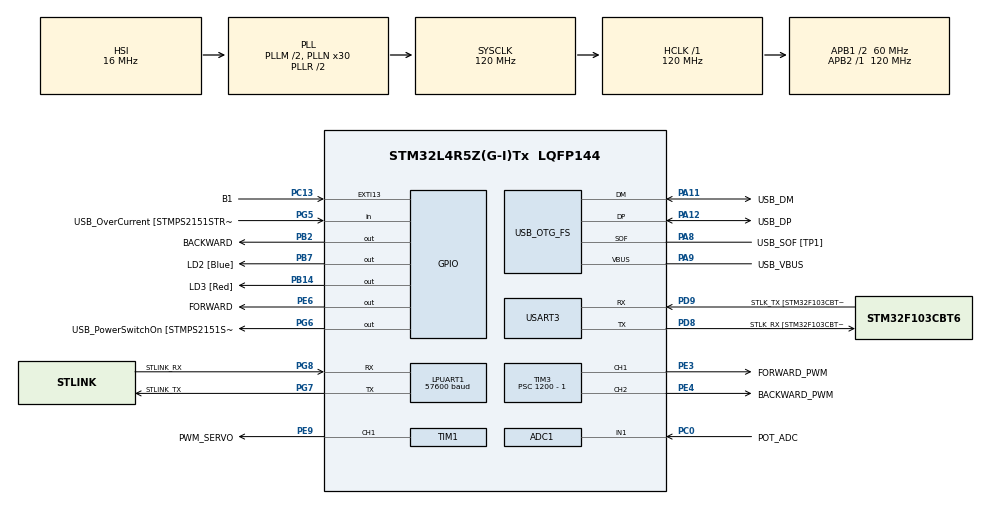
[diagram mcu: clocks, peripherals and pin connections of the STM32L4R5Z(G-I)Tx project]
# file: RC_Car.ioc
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ADC1.Channel-0\#ChannelRegularConversion=ADC_CHANNEL_1
ADC1.NbrOfConversionFlag=1
ADC1.OffsetNumber-0\#ChannelRegularConversion=ADC_OFFSET_NONE
ADC1.Rank-0\#ChannelRegularConversion=1
ADC1.SamplingTime-0\#ChannelRegularConversion=ADC_SAMPLETIME_2CYCLES_5
ADC1.master=1
LPUART1.BaudRate=57600
LPUART1.WordLength=UART_WORDLENGTH_8B
Mcu.Family=STM32L4
Mcu.Name=STM32L4R5Z(G-I)Tx
Mcu.Package=LQFP144
NVIC.PriorityGroup=NVIC_PRIORITYGROUP_4
PA10.GPIO_Label=USB_ID
PA10.Signal=USB_OTG_FS_ID
PA11.GPIO_Label=USB_DM
PA11.Mode=Device_Only
PA11.Signal=USB_OTG_FS_DM
PA12.GPIO_Label=USB_DP
PA12.Mode=Device_Only
PA12.Signal=USB_OTG_FS_DP
PA13\ (JTMS/SWDIO).GPIO_Label=TMS
PA13\ (JTMS/SWDIO).Mode=Trace_Asynchronous_SW
PA13\ (JTMS/SWDIO).Signal=SYS_JTMS-SWDIO
PA14\ (JTCK/SWCLK).GPIO_Label=TCK
PA14\ (JTCK/SWCLK).Mode=Trace_Asynchronous_SW
PA14\ (JTCK/SWCLK).Signal=SYS_JTCK-SWCLK
PA8.GPIO_Label=USB_SOF [TP1]
PA8.Mode=Activate_SOF_FS
PA8.Signal=USB_OTG_FS_SOF
PA9.GPIO_Label=USB_VBUS
PA9.Mode=Activate_VBUS
PA9.Signal=USB_OTG_FS_VBUS
PB14.GPIO_Label=LD3 [Red]
PB14.Signal=GPIO_Output
PB2.GPIO_Label=BACKWARD
PB2.Signal=GPIO_Output
PB3\ (JTDO/TRACESWO).GPIO_Label=SWO
PB3\ (JTDO/TRACESWO).Mode=Trace_Asynchronous_SW
PB3\ (JTDO/TRACESWO).Signal=SYS_JTDO-SWO
PB7.GPIO_Label=LD2 [Blue]
PB7.Signal=GPIO_Output
PC0.GPIO_Label=POT_ADC
PC0.Signal=ADCx_IN1
PC13.GPIO_Label=B1
PC13.Signal=GPXTI13
PC14-OSC32_IN\ (PC14).Mode=LSE-External-Oscillator
PC14-OSC32_IN\ (PC14).Signal=RCC_OSC32_IN
PC15-OSC32_OUT\ (PC15).Mode=LSE-External-Oscillator
PC15-OSC32_OUT\ (PC15).Signal=RCC_OSC32_OUT
PD8.GPIO_Label=STLK_RX [STM32F103CBT6_PA3]
PD8.Mode=Asynchronous
PD8.Signal=USART3_TX
PD9.GPIO_Label=STLK_TX [STM32F103CBT6_PA2]
PD9.Mode=Asynchronous
PD9.Signal=USART3_RX
PE3.GPIO_Label=FORWARD_PWM
PE3.Signal=S_TIM3_CH1
PE4.GPIO_Label=BACKWARD_PWM
PE4.Signal=S_TIM3_CH2
PE6.GPIO_Label=FORWARD
PE6.Signal=GPIO_Output
PE9.GPIO_Label=PWM_SERVO
PE9.Signal=S_TIM1_CH1
PG5.GPIO_Label=USB_OverCurrent [STMPS2151STR_FAULT]
PG5.Signal=GPIO_Input
PG6.GPIO_Label=USB_PowerSwitchOn [STMPS2151STR_EN]
PG6.Signal=GPIO_Output
PG7.GPIO_Label=STLINK_TX
PG7.Mode=Asynchronous
PG7.Signal=LPUART1_TX
PG8.GPIO_Label=STLINK_RX
PG8.Mode=Asynchronous
PG8.Signal=LPUART1_RX
PH0-OSC_IN\ (PH0).Signal=RCC_OSC_IN
PH1-OSC_OUT\ (PH1).Signal=RCC_OSC_OUT
ProjectManager.HeapSize=0x200
ProjectManager.StackSize=0x400
ProjectManager.TargetToolchain=STM32CubeIDE
RCC.48MHZClocksFreq_Value=24000000
RCC.ADCFreq_Value=48000000
RCC.AHBFreq_Value=120000000
RCC.APB1CLKDivider=RCC_HCLK_DIV2
RCC.APB1Freq_Value=60000000
RCC.APB1TimFreq_Value=120000000
RCC.APB2Freq_Value=120000000
RCC.APB2TimFreq_Value=120000000
RCC.CK48CLockSelection=RCC_USBCLKSOURCE_HSI48
RCC.CortexFreq_Value=120000000
RCC.HCLKFreq_Value=120000000
RCC.HSE_VALUE=8000000
RCC.HSI48_VALUE=48000000
RCC.HSI_VALUE=16000000
RCC.MSI_VALUE=4000000
RCC.PLLM1=2
RCC.PLLM2=2
RCC.PLLMUL=RCC_PLL_MUL9
RCC.PLLN=30
RCC.PLLSAI1N=12
RCC.PLLSourceVirtual=RCC_PLLSOURCE_HSI
RCC.PRESCALERUSB=RCC_USBCLKSOURCE_PLL_DIV1_5
RCC.SYSCLKFreq_VALUE=120000000
RCC.SYSCLKSource=RCC_SYSCLKSOURCE_PLLCLK
RCC.SYSCLKSourceVirtual=RCC_SYSCLKSOURCE_PLLCLK
RCC.USBFreq_Value=48000000
RCC.VCOOutputFreq_Value=240000000
SH.ADCx_IN1.0=ADC1_IN1,IN1-Single-Ended
SH.S_TIM1_CH1.0=TIM1_CH1,PWM Generation1 CH1
SH.S_TIM3_CH1.0=TIM3_CH1,PWM Generation1 CH1
SH.S_TIM3_CH2.0=TIM3_CH2,PWM Generation2 CH2
TIM1.Channel-PWM\ Generation1\ CH1=TIM_CHANNEL_1
TIM1.Period=20000-1
TIM1.Prescaler=120-1
TIM1.Pulse-PWM\ Generation1\ CH1=0
TIM3.Channel-PWM\ Generation1\ CH1=TIM_CHANNEL_1
TIM3.Channel-PWM\ Generation2\ CH2=TIM_CHANNEL_2
TIM3.Period=20000 - 1
TIM3.Prescaler=1200 - 1
USART3.VirtualMode-Asynchronous=VM_ASYNC
USB_OTG_FS.VirtualMode=Device_Only
VP_TIM1_VS_ClockSourceINT.Mode=Internal
VP_TIM3_VS_ClockSourceINT.Mode=Internal
board=NUCLEO-L4R5ZI

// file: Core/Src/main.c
/* USER CODE BEGIN Header */
/**
  ******************************************************************************
  * @file           : main.c
  * @brief          : Main program body
  ******************************************************************************
  * @attention
  *
  * Copyright (c) 2023 STMicroelectronics.
  * All rights reserved.
  *
  * This software is licensed under terms that can be found in the LICENSE file
  * in the root directory of this software component.
  * If no LICENSE file comes with this software, it is provided AS-IS.
  *
  ******************************************************************************
  */
/* USER CODE END Header */
#include "main.h"

/* USER CODE BEGIN Includes */
#include <string.h>
#include <stdbool.h>
#include <stdio.h>
#include "motor_control.h"
#include "RFDriver.h"
#include "process_raw_data.h"

/* USER CODE END Includes */

/* USER CODE BEGIN PD */
#define MAX_UINT_12 (4095)

#define RAW_STRAIGHT_VALUE ((MAX_UINT_12 + 1)/2)
#define RAW_STOP_VALUE ((MAX_UINT_12 + 1)/2)
/* USER CODE END PD */

ADC_HandleTypeDef hadc1;

UART_HandleTypeDef hlpuart1;
UART_HandleTypeDef huart3;

TIM_HandleTypeDef htim1;
TIM_HandleTypeDef htim3;

PCD_HandleTypeDef hpcd_USB_OTG_FS;

void SystemClock_Config(void);
static void MX_GPIO_Init(void);
static void MX_LPUART1_UART_Init(void);
static void MX_USART3_UART_Init(void);
static void MX_USB_OTG_FS_PCD_Init(void);
static void MX_ADC1_Init(void);
static void MX_TIM1_Init(void);
static void MX_TIM3_Init(void);

int main(void)
{

  /* MCU Configuration--------------------------------------------------------*/

  /* Reset of all peripherals, Initializes the Flash interface and the Systick. */
  HAL_Init();

  /* Configure the system clock */
  SystemClock_Config();

  /* Initialize all configured peripherals */
  MX_GPIO_Init();
  MX_LPUART1_UART_Init();
  MX_USART3_UART_Init();
  MX_USB_OTG_FS_PCD_Init();
  MX_ADC1_Init();
  MX_TIM1_Init();
  MX_TIM3_Init();

  /* Infinite loop */
  /* USER CODE BEGIN WHILE */
  char buf[12];
  HAL_TIM_PWM_Start(&htim1, TIM_CHANNEL_1);
  setupMotorControl(&htim3);

  RF_HandleTypeDef hRF;
  hRF.hspi = &hspi1;
  hRF.portCE = CHIP_ENABLE_GPIO_Port;
  hRF.pinCE = CHIP_ENABLE_Pin;
  hRF.portCSN = CSN_GPIO_Port;
  hRF.pinCSN = CSN_Pin;
  RFSetup(hRF);
  HAL_Delay(100);
  RXSetup();

  while (1)
  {

	//retrieve data
	const uint8_t rx_buffer_count = 32;
	uint8_t rx_buffer[rx_buffer_count];

	uint16_t raw_steering = RAW_STRAIGHT_VALUE;
	uint16_t raw_throttle = RAW_STOP_VALUE;
	if (RXReceive(rx_buffer)) {
		decodeData(rx_buffer, &raw_steering, &raw_throttle);
	}

	// throttle control

	const int8_t throttle = processRawThrottle(raw_throttle);
	wheelThrottle(throttle);

	// Steering Control
	const uint32_t steering = 1000 + (1000*raw_steering)/4096;
	__HAL_TIM_SET_COMPARE(&htim1, TIM_CHANNEL_1, steering);

	sprintf(buf, "%lu, %d,  \r\n", steering, throttle);
	HAL_UART_Transmit(&hlpuart1, buf, strlen((char*)buf), HAL_MAX_DELAY);
	HAL_Delay(20);
    /* USER CODE END WHILE */

  }
}

void SystemClock_Config(void)
{
  RCC_OscInitTypeDef RCC_OscInitStruct = {0};
  RCC_ClkInitTypeDef RCC_ClkInitStruct = {0};

  /** Configure the main internal regulator output voltage
  */
  if (HAL_PWREx_ControlVoltageScaling(PWR_REGULATOR_VOLTAGE_SCALE1_BOOST) != HAL_OK)
  {
    Error_Handler();
  }

  /** Initializes the RCC Oscillators according to the specified parameters
  * in the RCC_OscInitTypeDef structure.
  */
  RCC_OscInitStruct.OscillatorType = RCC_OSCILLATORTYPE_HSI48|RCC_OSCILLATORTYPE_HSI;
  RCC_OscInitStruct.HSIState = RCC_HSI_ON;
  RCC_OscInitStruct.HSI48State = RCC_HSI48_ON;
  RCC_OscInitStruct.HSICalibrationValue = RCC_HSICALIBRATION_DEFAULT;
  RCC_OscInitStruct.PLL.PLLState = RCC_PLL_ON;
  RCC_OscInitStruct.PLL.PLLSource = RCC_PLLSOURCE_HSI;
  RCC_OscInitStruct.PLL.PLLM = 2;
  RCC_OscInitStruct.PLL.PLLN = 30;
  RCC_OscInitStruct.PLL.PLLP = RCC_PLLP_DIV2;
  RCC_OscInitStruct.PLL.PLLQ = RCC_PLLQ_DIV2;
  RCC_OscInitStruct.PLL.PLLR = RCC_PLLR_DIV2;
  if (HAL_RCC_OscConfig(&RCC_OscInitStruct) != HAL_OK)
  {
    Error_Handler();
  }

  /** Initializes the CPU, AHB and APB buses clocks
  */
  RCC_ClkInitStruct.ClockType = RCC_CLOCKTYPE_HCLK|RCC_CLOCKTYPE_SYSCLK
                              |RCC_CLOCKTYPE_PCLK1|RCC_CLOCKTYPE_PCLK2;
  RCC_ClkInitStruct.SYSCLKSource = RCC_SYSCLKSOURCE_PLLCLK;
  RCC_ClkInitStruct.AHBCLKDivider = RCC_SYSCLK_DIV1;
  RCC_ClkInitStruct.APB1CLKDivider = RCC_HCLK_DIV2;
  RCC_ClkInitStruct.APB2CLKDivider = RCC_HCLK_DIV1;

  if (HAL_RCC_ClockConfig(&RCC_ClkInitStruct, FLASH_LATENCY_5) != HAL_OK)
  {
    Error_Handler();
  }
}

static void MX_ADC1_Init(void)
{

  ADC_ChannelConfTypeDef sConfig = {0};

  /** Common config
  */
  hadc1.Instance = ADC1;
  hadc1.Init.ClockPrescaler = ADC_CLOCK_ASYNC_DIV1;
  hadc1.Init.Resolution = ADC_RESOLUTION_12B;
  hadc1.Init.DataAlign = ADC_DATAALIGN_RIGHT;
  hadc1.Init.ScanConvMode = ADC_SCAN_DISABLE;
  hadc1.Init.EOCSelection = ADC_EOC_SINGLE_CONV;
  hadc1.Init.LowPowerAutoWait = DISABLE;
  hadc1.Init.ContinuousConvMode = DISABLE;
  hadc1.Init.NbrOfConversion = 1;
  hadc1.Init.DiscontinuousConvMode = DISABLE;
  hadc1.Init.ExternalTrigConv = ADC_SOFTWARE_START;
  hadc1.Init.ExternalTrigConvEdge = ADC_EXTERNALTRIGCONVEDGE_NONE;
  hadc1.Init.DMAContinuousRequests = DISABLE;
  hadc1.Init.Overrun = ADC_OVR_DATA_PRESERVED;
  hadc1.Init.OversamplingMode = DISABLE;
  hadc1.Init.DFSDMConfig = ADC_DFSDM_MODE_ENABLE;
  if (HAL_ADC_Init(&hadc1) != HAL_OK)
  {
    Error_Handler();
  }

  /** Configure Regular Channel
  */
  sConfig.Channel = ADC_CHANNEL_1;
  sConfig.Rank = ADC_REGULAR_RANK_1;
  sConfig.SamplingTime = ADC_SAMPLETIME_2CYCLES_5;
  sConfig.SingleDiff = ADC_SINGLE_ENDED;
  sConfig.OffsetNumber = ADC_OFFSET_NONE;
  sConfig.Offset = 0;
  if (HAL_ADC_ConfigChannel(&hadc1, &sConfig) != HAL_OK)
  {
    Error_Handler();
  }

}

static void MX_LPUART1_UART_Init(void)
{

  hlpuart1.Instance = LPUART1;
  hlpuart1.Init.BaudRate = 57600;
  hlpuart1.Init.WordLength = UART_WORDLENGTH_8B;
  hlpuart1.Init.StopBits = UART_STOPBITS_1;
  hlpuart1.Init.Parity = UART_PARITY_NONE;
  hlpuart1.Init.Mode = UART_MODE_TX_RX;
  hlpuart1.Init.HwFlowCtl = UART_HWCONTROL_NONE;
  hlpuart1.Init.OneBitSampling = UART_ONE_BIT_SAMPLE_DISABLE;
  hlpuart1.Init.ClockPrescaler = UART_PRESCALER_DIV1;
  hlpuart1.AdvancedInit.AdvFeatureInit = UART_ADVFEATURE_NO_INIT;
  hlpuart1.FifoMode = UART_FIFOMODE_DISABLE;
  if (HAL_UART_Init(&hlpuart1) != HAL_OK)
  {
    Error_Handler();
  }
  if (HAL_UARTEx_SetTxFifoThreshold(&hlpuart1, UART_TXFIFO_THRESHOLD_1_8) != HAL_OK)
  {
    Error_Handler();
  }
  if (HAL_UARTEx_SetRxFifoThreshold(&hlpuart1, UART_RXFIFO_THRESHOLD_1_8) != HAL_OK)
  {
    Error_Handler();
  }
  if (HAL_UARTEx_DisableFifoMode(&hlpuart1) != HAL_OK)
  {
    Error_Handler();
  }

}

static void MX_USART3_UART_Init(void)
{

  huart3.Instance = USART3;
  huart3.Init.BaudRate = 115200;
  huart3.Init.WordLength = UART_WORDLENGTH_8B;
  huart3.Init.StopBits = UART_STOPBITS_1;
  huart3.Init.Parity = UART_PARITY_NONE;
  huart3.Init.Mode = UART_MODE_TX_RX;
  huart3.Init.HwFlowCtl = UART_HWCONTROL_NONE;
  huart3.Init.OverSampling = UART_OVERSAMPLING_16;
  huart3.Init.OneBitSampling = UART_ONE_BIT_SAMPLE_DISABLE;
  huart3.Init.ClockPrescaler = UART_PRESCALER_DIV1;
  huart3.AdvancedInit.AdvFeatureInit = UART_ADVFEATURE_NO_INIT;
  if (HAL_UART_Init(&huart3) != HAL_OK)
  {
    Error_Handler();
  }
  if (HAL_UARTEx_SetTxFifoThreshold(&huart3, UART_TXFIFO_THRESHOLD_1_8) != HAL_OK)
  {
    Error_Handler();
  }
  if (HAL_UARTEx_SetRxFifoThreshold(&huart3, UART_RXFIFO_THRESHOLD_1_8) != HAL_OK)
  {
    Error_Handler();
  }
  if (HAL_UARTEx_DisableFifoMode(&huart3) != HAL_OK)
  {
    Error_Handler();
  }

}

static void MX_TIM1_Init(void)
{

  TIM_ClockConfigTypeDef sClockSourceConfig = {0};
  TIM_MasterConfigTypeDef sMasterConfig = {0};
  TIM_OC_InitTypeDef sConfigOC = {0};
  TIM_BreakDeadTimeConfigTypeDef sBreakDeadTimeConfig = {0};

  htim1.Instance = TIM1;
  htim1.Init.Prescaler = 120-1;
  htim1.Init.CounterMode = TIM_COUNTERMODE_UP;
  htim1.Init.Period = 20000-1;
  htim1.Init.ClockDivision = TIM_CLOCKDIVISION_DIV1;
  htim1.Init.RepetitionCounter = 0;
  htim1.Init.AutoReloadPreload = TIM_AUTORELOAD_PRELOAD_DISABLE;
  if (HAL_TIM_Base_Init(&htim1) != HAL_OK)
  {
    Error_Handler();
  }
  sClockSourceConfig.ClockSource = TIM_CLOCKSOURCE_INTERNAL;
  if (HAL_TIM_ConfigClockSource(&htim1, &sClockSourceConfig) != HAL_OK)
  {
    Error_Handler();
  }
  if (HAL_TIM_PWM_Init(&htim1) != HAL_OK)
  {
    Error_Handler();
  }
  sMasterConfig.MasterOutputTrigger = TIM_TRGO_RESET;
  sMasterConfig.MasterOutputTrigger2 = TIM_TRGO2_RESET;
  sMasterConfig.MasterSlaveMode = TIM_MASTERSLAVEMODE_DISABLE;
  if (HAL_TIMEx_MasterConfigSynchronization(&htim1, &sMasterConfig) != HAL_OK)
  {
    Error_Handler();
  }
  sConfigOC.OCMode = TIM_OCMODE_PWM1;
  sConfigOC.Pulse = 0;
  sConfigOC.OCPolarity = TIM_OCPOLARITY_HIGH;
  sConfigOC.OCNPolarity = TIM_OCNPOLARITY_HIGH;
  sConfigOC.OCFastMode = TIM_OCFAST_DISABLE;
  sConfigOC.OCIdleState = TIM_OCIDLESTATE_RESET;
  sConfigOC.OCNIdleState = TIM_OCNIDLESTATE_RESET;
  if (HAL_TIM_PWM_ConfigChannel(&htim1, &sConfigOC, TIM_CHANNEL_1) != HAL_OK)
  {
    Error_Handler();
  }
  sBreakDeadTimeConfig.OffStateRunMode = TIM_OSSR_DISABLE;
  sBreakDeadTimeConfig.OffStateIDLEMode = TIM_OSSI_DISABLE;
  sBreakDeadTimeConfig.LockLevel = TIM_LOCKLEVEL_OFF;
  sBreakDeadTimeConfig.DeadTime = 0;
  sBreakDeadTimeConfig.BreakState = TIM_BREAK_DISABLE;
  sBreakDeadTimeConfig.BreakPolarity = TIM_BREAKPOLARITY_HIGH;
  sBreakDeadTimeConfig.BreakFilter = 0;
  sBreakDeadTimeConfig.Break2State = TIM_BREAK2_DISABLE;
  sBreakDeadTimeConfig.Break2Polarity = TIM_BREAK2POLARITY_HIGH;
  sBreakDeadTimeConfig.Break2Filter = 0;
  sBreakDeadTimeConfig.AutomaticOutput = TIM_AUTOMATICOUTPUT_DISABLE;
  if (HAL_TIMEx_ConfigBreakDeadTime(&htim1, &sBreakDeadTimeConfig) != HAL_OK)
  {
    Error_Handler();
  }
  HAL_TIM_MspPostInit(&htim1);

}

static void MX_TIM3_Init(void)
{

  TIM_ClockConfigTypeDef sClockSourceConfig = {0};
  TIM_MasterConfigTypeDef sMasterConfig = {0};
  TIM_OC_InitTypeDef sConfigOC = {0};

  htim3.Instance = TIM3;
  htim3.Init.Prescaler = 1200 - 1;
  htim3.Init.CounterMode = TIM_COUNTERMODE_UP;
  htim3.Init.Period = 20000 - 1;
  htim3.Init.ClockDivision = TIM_CLOCKDIVISION_DIV1;
  htim3.Init.AutoReloadPreload = TIM_AUTORELOAD_PRELOAD_DISABLE;
  if (HAL_TIM_Base_Init(&htim3) != HAL_OK)
  {
    Error_Handler();
  }
  sClockSourceConfig.ClockSource = TIM_CLOCKSOURCE_INTERNAL;
  if (HAL_TIM_ConfigClockSource(&htim3, &sClockSourceConfig) != HAL_OK)
  {
    Error_Handler();
  }
  if (HAL_TIM_PWM_Init(&htim3) != HAL_OK)
  {
    Error_Handler();
  }
  sMasterConfig.MasterOutputTrigger = TIM_TRGO_RESET;
  sMasterConfig.MasterSlaveMode = TIM_MASTERSLAVEMODE_DISABLE;
  if (HAL_TIMEx_MasterConfigSynchronization(&htim3, &sMasterConfig) != HAL_OK)
  {
    Error_Handler();
  }
  sConfigOC.OCMode = TIM_OCMODE_PWM1;
  sConfigOC.Pulse = 0;
  sConfigOC.OCPolarity = TIM_OCPOLARITY_HIGH;
  sConfigOC.OCFastMode = TIM_OCFAST_DISABLE;
  if (HAL_TIM_PWM_ConfigChannel(&htim3, &sConfigOC, TIM_CHANNEL_1) != HAL_OK)
  {
    Error_Handler();
  }
  if (HAL_TIM_PWM_ConfigChannel(&htim3, &sConfigOC, TIM_CHANNEL_2) != HAL_OK)
  {
    Error_Handler();
  }
  HAL_TIM_MspPostInit(&htim3);

}

static void MX_USB_OTG_FS_PCD_Init(void)
{

  hpcd_USB_OTG_FS.Instance = USB_OTG_FS;
  hpcd_USB_OTG_FS.Init.dev_endpoints = 6;
  hpcd_USB_OTG_FS.Init.phy_itface = PCD_PHY_EMBEDDED;
  hpcd_USB_OTG_FS.Init.Sof_enable = ENABLE;
  hpcd_USB_OTG_FS.Init.low_power_enable = DISABLE;
  hpcd_USB_OTG_FS.Init.lpm_enable = DISABLE;
  hpcd_USB_OTG_FS.Init.battery_charging_enable = ENABLE;
  hpcd_USB_OTG_FS.Init.use_dedicated_ep1 = DISABLE;
  hpcd_USB_OTG_FS.Init.vbus_sensing_enable = ENABLE;
  if (HAL_PCD_Init(&hpcd_USB_OTG_FS) != HAL_OK)
  {
    Error_Handler();
  }

}

static void MX_GPIO_Init(void)
{
  GPIO_InitTypeDef GPIO_InitStruct = {0};

  /* GPIO Ports Clock Enable */
  __HAL_RCC_GPIOE_CLK_ENABLE();
  __HAL_RCC_GPIOC_CLK_ENABLE();
  __HAL_RCC_GPIOH_CLK_ENABLE();
  __HAL_RCC_GPIOB_CLK_ENABLE();
  __HAL_RCC_GPIOD_CLK_ENABLE();
  __HAL_RCC_GPIOG_CLK_ENABLE();
  HAL_PWREx_EnableVddIO2();
  __HAL_RCC_GPIOA_CLK_ENABLE();

  /*Configure GPIO pin Output Level */
  HAL_GPIO_WritePin(FORWARD_GPIO_Port, FORWARD_Pin, GPIO_PIN_RESET);

  /*Configure GPIO pin Output Level */
  HAL_GPIO_WritePin(GPIOB, BACKWARD_Pin|LD3_Pin|LD2_Pin, GPIO_PIN_RESET);

  /*Configure GPIO pin Output Level */
  HAL_GPIO_WritePin(USB_PowerSwitchOn_GPIO_Port, USB_PowerSwitchOn_Pin, GPIO_PIN_RESET);

  /*Configure GPIO pin : FORWARD_Pin */
  GPIO_InitStruct.Pin = FORWARD_Pin;
  GPIO_InitStruct.Mode = GPIO_MODE_OUTPUT_PP;
  GPIO_InitStruct.Pull = GPIO_NOPULL;
  GPIO_InitStruct.Speed = GPIO_SPEED_FREQ_LOW;
  HAL_GPIO_Init(FORWARD_GPIO_Port, &GPIO_InitStruct);

  /*Configure GPIO pin : B1_Pin */
  GPIO_InitStruct.Pin = B1_Pin;
  GPIO_InitStruct.Mode = GPIO_MODE_IT_RISING;
  GPIO_InitStruct.Pull = GPIO_NOPULL;
  HAL_GPIO_Init(B1_GPIO_Port, &GPIO_InitStruct);

  /*Configure GPIO pins : BACKWARD_Pin LD3_Pin LD2_Pin */
  GPIO_InitStruct.Pin = BACKWARD_Pin|LD3_Pin|LD2_Pin;
  GPIO_InitStruct.Mode = GPIO_MODE_OUTPUT_PP;
  GPIO_InitStruct.Pull = GPIO_NOPULL;
  GPIO_InitStruct.Speed = GPIO_SPEED_FREQ_LOW;
  HAL_GPIO_Init(GPIOB, &GPIO_InitStruct);

  /*Configure GPIO pin : USB_OverCurrent_Pin */
  GPIO_InitStruct.Pin = USB_OverCurrent_Pin;
  GPIO_InitStruct.Mode = GPIO_MODE_INPUT;
  GPIO_InitStruct.Pull = GPIO_NOPULL;
  HAL_GPIO_Init(USB_OverCurrent_GPIO_Port, &GPIO_InitStruct);

  /*Configure GPIO pin : USB_PowerSwitchOn_Pin */
  GPIO_InitStruct.Pin = USB_PowerSwitchOn_Pin;
  GPIO_InitStruct.Mode = GPIO_MODE_OUTPUT_PP;
  GPIO_InitStruct.Pull = GPIO_NOPULL;
  GPIO_InitStruct.Speed = GPIO_SPEED_FREQ_LOW;
  HAL_GPIO_Init(USB_PowerSwitchOn_GPIO_Port, &GPIO_InitStruct);

}

void Error_Handler(void)
{
  __disable_irq();
  while (1)
  {
  }
}
